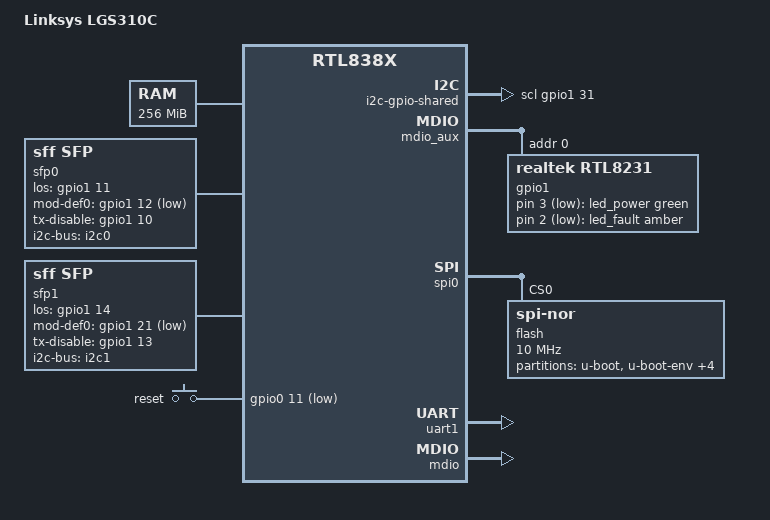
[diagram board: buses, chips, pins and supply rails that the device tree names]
// SPDX-License-Identifier: GPL-2.0-or-later OR MIT

#include <dt-bindings/input/input.h>
#include <dt-bindings/leds/common.h>
#include <dt-bindings/gpio/gpio.h>

#include "rtl838x.dtsi"

/ {
	compatible = "linksys,lgs310c", "realtek,rtl838x-soc";
	model = "Linksys LGS310C";

	aliases {
		led-boot = &led_power;
		led-failsafe = &led_fault;
		led-running = &led_power;
		led-upgrade = &led_power;
	};

	memory@0 {
		device_type = "memory";
		reg = <0x0 0x10000000>;
	};

	leds: leds {
		pinctrl-names = "default";
		pinctrl-0 = <&pinmux_disable_sys_led>;
		compatible = "gpio-leds";

		led_power: led-0 {
			function = LED_FUNCTION_POWER;
			color = <LED_COLOR_ID_GREEN>;
			gpios = <&gpio1 3 GPIO_ACTIVE_LOW>;
		};

		led_fault: led-1 {
			function = LED_FUNCTION_FAULT;
			color = <LED_COLOR_ID_AMBER>;
			gpios = <&gpio1 2 GPIO_ACTIVE_LOW>;
		};
	};

	i2c-gpio-shared {
		compatible = "i2c-gpio-shared";
		scl-gpios = <&gpio1 31 (GPIO_ACTIVE_HIGH | GPIO_OPEN_DRAIN)>;
		#address-cells = <1>;
		#size-cells = <0>;

		i2c0: i2c@0 {
			sda-gpios = <&gpio1 6 (GPIO_ACTIVE_HIGH | GPIO_OPEN_DRAIN)>;
			i2c-gpio,delay-us = <2>;
		};

		i2c1: i2c@1 {
			sda-gpios = <&gpio1 7 (GPIO_ACTIVE_HIGH | GPIO_OPEN_DRAIN)>;
			i2c-gpio,delay-us = <2>;
		};
	};

	sfp0: sfp-p9 {
		compatible = "sff,sfp";
		i2c-bus = <&i2c0>;
		los-gpio = <&gpio1 11 GPIO_ACTIVE_HIGH>;
		mod-def0-gpio = <&gpio1 12 GPIO_ACTIVE_LOW>;
		tx-disable-gpio = <&gpio1 10 GPIO_ACTIVE_HIGH>;
	};

	sfp1: sfp-p10 {
		compatible = "sff,sfp";
		i2c-bus = <&i2c1>;
		los-gpio = <&gpio1 14 GPIO_ACTIVE_HIGH>;
		mod-def0-gpio = <&gpio1 21 GPIO_ACTIVE_LOW>;
		tx-disable-gpio = <&gpio1 13 GPIO_ACTIVE_HIGH>;
	};

	keys {
		compatible = "gpio-keys";

		reset {
			label = "reset";
			gpios = <&gpio0 11 GPIO_ACTIVE_LOW>;
			linux,code = <KEY_RESTART>;
		};
	};
};

&mdio_aux {
	status = "okay";

	gpio1: expander@0 {
		compatible = "realtek,rtl8231";
		reg = <0>;

		gpio-controller;
		#gpio-cells = <2>;
		gpio-ranges = <&gpio1 0 0 37>;

		led-controller {
			compatible = "realtek,rtl8231-leds";
			status = "disabled";
		};
	};
};

&spi0 {
	status = "okay";
	flash@0 {
		compatible = "jedec,spi-nor";
		reg = <0>;
		spi-max-frequency = <10000000>;

		partitions {
			compatible = "fixed-partitions";
			#address-cells = <1>;
			#size-cells = <1>;

			partition@0 {
				label = "u-boot";
				reg = <0x00000000 0x80000>;
				read-only;
			};
			partition@80000 {
				label = "u-boot-env";
				reg = <0x00080000 0x10000>;
			};
			partition@90000 {
				label = "u-boot-env2";
				reg = <0x00090000 0x10000>;
			};
			partition@a0000 {
				label = "jffs2";
				reg = <0x000a0000 0x500000>;
			};
			partition@5a0000 {
				label = "firmware";
				compatible = "openwrt,uimage";
				reg = <0x005a0000 0xd30000>;
			};
			partition@2d0000 {
				label = "kernel2";
				reg = <0x012d0000 0xd30000>;
			};
		};
	};
};

&uart1 {
	status = "okay";
};

&ethernet0 {
	mdio: mdio-bus {
		compatible = "realtek,rtl838x-mdio";
		regmap = <&ethernet0>;
		#address-cells = <1>;
		#size-cells = <0>;

		INTERNAL_PHY(8)
		INTERNAL_PHY(9)
		INTERNAL_PHY(10)
		INTERNAL_PHY(11)
		INTERNAL_PHY(12)
		INTERNAL_PHY(13)
		INTERNAL_PHY(14)
		INTERNAL_PHY(15)
		INTERNAL_PHY(24)
		INTERNAL_PHY(26)
	};
};

&switch0 {
	ports {
		#address-cells = <1>;
		#size-cells = <0>;

		SWITCH_PORT(8, 1, internal)
		SWITCH_PORT(9, 2, internal)
		SWITCH_PORT(10, 3, internal)
		SWITCH_PORT(11, 4, internal)
		SWITCH_PORT(12, 5, internal)
		SWITCH_PORT(13, 6, internal)
		SWITCH_PORT(14, 7, internal)
		SWITCH_PORT(15, 8, internal)

		port@24 {
			reg = <24>;
			label = "lan9";
			phy-handle = <&phy24>;
			phy-mode = "1000base-x";
			managed = "in-band-status";
			sfp = <&sfp0>;
		};

		port@26 {
			reg = <26>;
			label = "lan10";
			phy-handle = <&phy26>;
			phy-mode = "1000base-x";
			managed = "in-band-status";
			sfp = <&sfp1>;
		};

		port@28 {
			ethernet = <&ethernet0>;
			reg = <28>;
			phy-mode = "internal";
			fixed-link {
				speed = <1000>;
				full-duplex;
			};
		};
	};
};
